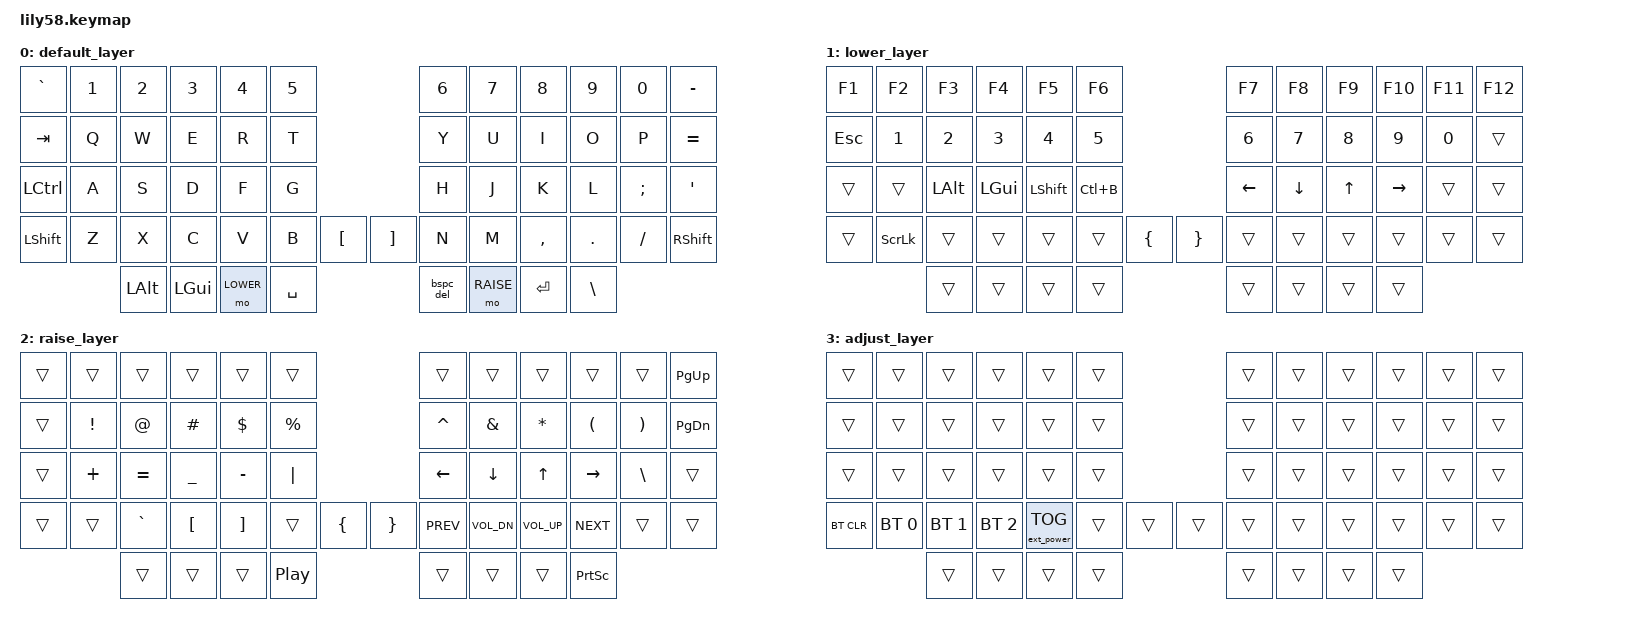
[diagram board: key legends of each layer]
#include <behaviors.dtsi>
#include <dt-bindings/zmk/keys.h>
#include <dt-bindings/zmk/bt.h>
#include <dt-bindings/zmk/ext_power.h>
#include <dt-bindings/zmk/outputs.h>

/* Defines for readability */
#define MAC_BASE 0
#define LOWER    1
#define RAISE    2
#define ADJUST   3

/ {
    behaviors {
        bspc_del: backspace_delete {
            compatible = "zmk,behavior-mod-morph";
            #binding-cells = <0>;
            bindings = <&kp BSPC>, <&kp DEL>;
            mods = <(MOD_LSFT|MOD_RSFT)>;
        };
    };

    conditional_layers {
        compatible = "zmk,conditional-layers";
        adjust {
            if-layers = <LOWER RAISE>;
            then-layer = <ADJUST>;
        };
    };

    keymap {
        compatible = "zmk,keymap";

        /* * LAYER 0: MAC BASE / PC GAMING
         * - SPACE and BACKSPACE in the center (innermost) thumb positions.
         * - BACKSPACE is a mod-morph: Shift+BSPC sends forward DEL.
         * - LBKT and RBKT in the center (between the halves).
         * - LCTRL on home row, LSHFT below.
         * - LALT on the outer left thumb, BSLH on the outer right thumb.
         */
        default_layer {
            bindings = <
&kp GRAVE &kp N1 &kp N2 &kp N3 &kp N4 &kp N5                     &kp N6 &kp N7 &kp N8    &kp N9  &kp N0   &kp MINUS
&kp TAB   &kp Q  &kp W  &kp E  &kp R  &kp T                      &kp Y  &kp U  &kp I     &kp O   &kp P    &kp EQUAL
&kp LCTRL &kp A  &kp S  &kp D  &kp F  &kp G                      &kp H  &kp J  &kp K     &kp L   &kp SEMI &kp SQT
&kp LSHFT &kp Z  &kp X  &kp C  &kp V  &kp B  &kp LBKT   &kp RBKT &kp N  &kp M  &kp COMMA &kp DOT &kp FSLH &kp RSHFT
              &kp LALT &kp LGUI &mo LOWER &kp SPACE      &bspc_del &mo RAISE &kp RET &kp BSLH
            >;
        };

        /* * LAYER 1: LOWER (Nav & Numbers)
         * - ESC on the TAB position.
         * - Numbers 1-0 on the QWERTY row.
         * - Home row mods on S/D/F (ALT/GUI/SHIFT), Ctrl+B tmux/herdr prefix on G.
         * - Right Hand Home: Vim Navigation (HJKL).
         * - Center: { and } for quick access.
         * - Scroll Lock on Z: Deskflow's default lock-cursor-to-screen toggle.
         * - Backspace thumb transparent so Alt/Cmd+Backspace word/line deletes work.
         */
        lower_layer {
            bindings = <
&kp F1    &kp F2 &kp F3   &kp F4   &kp F5    &kp F6                     &kp F7   &kp F8   &kp F9 &kp F10   &kp F11 &kp F12
&kp ESC   &kp N1 &kp N2   &kp N3   &kp N4    &kp N5                     &kp N6   &kp N7   &kp N8 &kp N9    &kp N0  &trans
&trans    &trans &kp LALT &kp LGUI &kp LSHFT &kp LC(B)                  &kp LEFT &kp DOWN &kp UP &kp RIGHT &trans  &trans
&trans    &kp SLCK &trans &trans   &trans    &trans   &kp LBRC &kp RBRC &trans   &trans   &trans &trans    &trans  &trans
                          &trans   &trans    &trans   &trans   &trans   &trans   &trans   &trans
            >;
        };

        /* * LAYER 2: RAISE (Symbols & Media + Nav)
         * - QWERTY Row: ! to % and ^ to ) mirroring the digit columns.
         * - Left Hand Home: Coding symbols (+ = _ - |).
         * - Left Hand Bottom: ` [ ] (shift gives ~ { }).
         * - Right Hand Home: Navigation Arrows.
         * - Right Hand Bottom: Media Controls.
         * - Top Right: PG_UP and PG_DN.
         * - Outer Right Thumb: PSCRN (Windows screenshots).
         */
        raise_layer {
            bindings = <
&trans     &trans       &trans       &trans       &trans       &trans                       &trans      &trans       &trans       &trans       &trans &kp PG_UP
&trans     &kp EXCL     &kp AT       &kp HASH     &kp DLLR     &kp PRCNT                    &kp CARET   &kp AMPS     &kp STAR     &kp LPAR     &kp RPAR &kp PG_DN
&trans     &kp PLUS     &kp EQUAL    &kp UNDER    &kp MINUS    &kp PIPE                     &kp LEFT    &kp DOWN     &kp UP       &kp RIGHT    &kp BSLH &trans
&trans     &trans       &kp GRAVE    &kp LBKT     &kp RBKT     &trans &kp LBRC &kp RBRC     &kp C_PREV  &kp C_VOL_DN &kp C_VOL_UP &kp C_NEXT   &trans &trans
                                     &trans       &trans       &trans  &kp C_PP             &trans      &trans       &trans       &kp PSCRN
            >;
        };

        /* * LAYER 3: ADJUST (hold LOWER + RAISE together)
         * - Bluetooth profiles and system controls, moved from RAISE.
         * - Same physical positions the BT row occupied on RAISE.
         */
        adjust_layer {
            bindings = <
&trans     &trans       &trans       &trans       &trans            &trans                  &trans &trans &trans &trans &trans &trans
&trans     &trans       &trans       &trans       &trans            &trans                  &trans &trans &trans &trans &trans &trans
&trans     &trans       &trans       &trans       &trans            &trans                  &trans &trans &trans &trans &trans &trans
&bt BT_CLR &bt BT_SEL 0 &bt BT_SEL 1 &bt BT_SEL 2 &ext_power EP_TOG &trans &trans &trans    &trans &trans &trans &trans &trans &trans
                                     &trans       &trans            &trans &trans           &trans &trans &trans &trans
            >;
        };
    };
};
